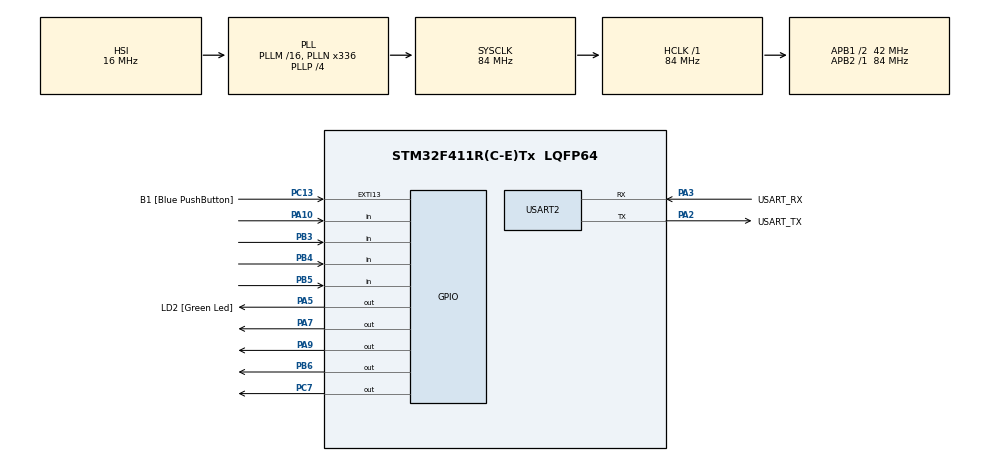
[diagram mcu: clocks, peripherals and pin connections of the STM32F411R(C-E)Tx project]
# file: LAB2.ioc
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Mcu.Family=STM32F4
Mcu.Name=STM32F411R(C-E)Tx
Mcu.Package=LQFP64
NVIC.PriorityGroup=NVIC_PRIORITYGROUP_0
PA10.GPIO_PuPd=GPIO_PULLUP
PA10.Signal=GPIO_Input
PA13.GPIO_Label=TMS
PA13.Mode=Serial_Wire
PA13.Signal=SYS_JTMS-SWDIO
PA14.GPIO_Label=TCK
PA14.Mode=Serial_Wire
PA14.Signal=SYS_JTCK-SWCLK
PA2.GPIO_Label=USART_TX
PA2.Mode=Asynchronous
PA2.Signal=USART2_TX
PA3.GPIO_Label=USART_RX
PA3.Mode=Asynchronous
PA3.Signal=USART2_RX
PA5.GPIO_Label=LD2 [Green Led]
PA5.Signal=GPIO_Output
PA7.GPIO_ModeDefaultOutputPP=GPIO_MODE_OUTPUT_OD
PA7.PinState=GPIO_PIN_SET
PA7.Signal=GPIO_Output
PA9.GPIO_ModeDefaultOutputPP=GPIO_MODE_OUTPUT_OD
PA9.PinState=GPIO_PIN_SET
PA9.Signal=GPIO_Output
PB3.GPIO_PuPd=GPIO_PULLUP
PB3.Signal=GPIO_Input
PB4.GPIO_PuPd=GPIO_PULLUP
PB4.Signal=GPIO_Input
PB5.GPIO_PuPd=GPIO_PULLUP
PB5.Signal=GPIO_Input
PB6.GPIO_ModeDefaultOutputPP=GPIO_MODE_OUTPUT_OD
PB6.PinState=GPIO_PIN_SET
PB6.Signal=GPIO_Output
PC13-ANTI_TAMP.GPIO_Label=B1 [Blue PushButton]
PC13-ANTI_TAMP.GPIO_ModeDefaultEXTI=GPIO_MODE_IT_FALLING
PC13-ANTI_TAMP.Signal=GPXTI13
PC14-OSC32_IN.Mode=LSE-External-Oscillator
PC14-OSC32_IN.Signal=RCC_OSC32_IN
PC15-OSC32_OUT.Mode=LSE-External-Oscillator
PC15-OSC32_OUT.Signal=RCC_OSC32_OUT
PC7.GPIO_ModeDefaultOutputPP=GPIO_MODE_OUTPUT_OD
PC7.PinState=GPIO_PIN_SET
PC7.Signal=GPIO_Output
PH0\ -\ OSC_IN.Mode=HSE-External-Clock-Source
PH0\ -\ OSC_IN.Signal=RCC_OSC_IN
PH1\ -\ OSC_OUT.Mode=HSE-External-Clock-Source
PH1\ -\ OSC_OUT.Signal=RCC_OSC_OUT
ProjectManager.HeapSize=0x200
ProjectManager.StackSize=0x400
ProjectManager.TargetToolchain=STM32CubeIDE
RCC.48MHZClocksFreq_Value=84000000
RCC.AHBFreq_Value=84000000
RCC.APB1CLKDivider=RCC_HCLK_DIV2
RCC.APB1Freq_Value=42000000
RCC.APB1TimFreq_Value=84000000
RCC.APB2Freq_Value=84000000
RCC.APB2TimFreq_Value=84000000
RCC.CortexFreq_Value=84000000
RCC.FLatency-AdvancedSettings=FLASH_LATENCY_2
RCC.HCLKFreq_Value=84000000
RCC.HSE_VALUE=8000000
RCC.HSI_VALUE=16000000
RCC.PLLN=336
RCC.PLLP=RCC_PLLP_DIV4
RCC.SYSCLKFreq_VALUE=84000000
RCC.SYSCLKSource=RCC_SYSCLKSOURCE_PLLCLK
RCC.VCOOutputFreq_Value=336000000
USART2.VirtualMode=VM_ASYNC
board=NUCLEO-F411RE

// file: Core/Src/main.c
/* USER CODE BEGIN Header */
/**
  ******************************************************************************
  * @file           : main.c
  * @brief          : Main program body
  ******************************************************************************
  * @attention
  *
  * <h2><center>&copy; Copyright (c) 2021 STMicroelectronics.
  * All rights reserved.</center></h2>
  *
  * This software component is licensed by ST under BSD 3-Clause license,
  * the "License"; You may not use this file except in compliance with the
  * License. You may obtain a copy of the License at:
  *                        opensource.org/licenses/BSD-3-Clause
  *
  ******************************************************************************
  */
/* USER CODE END Header */
#include "main.h"

UART_HandleTypeDef huart2;

/* USER CODE BEGIN PV */
// save state of button matrix
enum StateDisiplay{
	State_1 = 0,
	State_2,
	State_3,
	State_4,
	State_5,
	State_6,
	State_7,
	State_8,
	State_9,
	State_10,
	State_11,
	State_12,
	State_WrongNum
};

uint16_t ButtonMatrix = 0;
uint32_t ButtonMatrixTimer = 0; // Button timer
uint16_t ButtonDelayTime = 0;
uint16_t StateNow = 0;
uint16_t ButtonMatrixPushed[2] = {0};
/* USER CODE END PV */

void SystemClock_Config(void);
static void MX_GPIO_Init(void);
static void MX_USART2_UART_Init(void);
/* USER CODE BEGIN PFP */
void ButtonMatrixUpdate(); // scan and update button matrix
/* USER CODE END PFP */

int main(void)
{

  /* MCU Configuration--------------------------------------------------------*/

  /* Reset of all peripherals, Initializes the Flash interface and the Systick. */
  HAL_Init();

  /* Configure the system clock */
  SystemClock_Config();

  /* Initialize all configured peripherals */
  MX_GPIO_Init();
  MX_USART2_UART_Init();

  /* Infinite loop */
  /* USER CODE BEGIN WHILE */
  while (1) //62340500044
  {
    /* USER CODE END WHILE */

    /* USER CODE BEGIN 3 */
	  if(HAL_GetTick() - ButtonDelayTime >= 100){
		  ButtonDelayTime = HAL_GetTick();
		  ButtonMatrixPushed[0] = ButtonMatrix;
		  ButtonMatrixUpdate();
		  switch (StateNow) {
			case State_1:
				if(ButtonMatrixPushed[0] != 0 && ButtonMatrixPushed[1] == 0)
				{
					if(ButtonMatrix == 0b1000000) // 6
					{
						StateNow = State_2;
					}
					else {StateNow = State_WrongNum;}
				}
				break;
			case State_2:
				if(ButtonMatrixPushed[0] != 0 && ButtonMatrixPushed[1] == 0)
				{
					if(ButtonMatrix == 0b1000000000) // 2
					{
						StateNow = State_3;
					}
					else {StateNow = State_WrongNum;}
				}
				break;
			case State_3:
				if(ButtonMatrixPushed[0] != 0 && ButtonMatrixPushed[1] == 0)
				{
					if(ButtonMatrix == 0b10000000000) // 3
					{
						StateNow = State_4;
					}
					else {StateNow = State_WrongNum;}

				}
				break;
			case State_4:
				if(ButtonMatrixPushed[0] != 0 && ButtonMatrixPushed[1] == 0)
				{
					if(ButtonMatrix == 0b10000) // 4
					{
						StateNow = State_5;
					}
					else {StateNow = State_WrongNum;}

				}
				break;
			case State_5:
				if(ButtonMatrixPushed[0] != 0 && ButtonMatrixPushed[1] == 0)
				{
					if(ButtonMatrix == 0b1000000000000) // 0
					{
						StateNow = State_6;
					}
					else {StateNow = State_WrongNum;}

				}
				break;
			case State_6:
				if(ButtonMatrixPushed[0] != 0 && ButtonMatrixPushed[1] == 0)
				{
					if(ButtonMatrix == 0b100000) // 5
					{
						StateNow = State_7;
					}
					else {StateNow = State_WrongNum;}

				}
				break;
			case State_7:
				if(ButtonMatrixPushed[0] != 0 && ButtonMatrixPushed[1] == 0)
				{
					if(ButtonMatrix == 0b1000000000000) // 0
					{
						StateNow = State_8;
					}
					else {StateNow = State_WrongNum;}

				}
				break;
			case State_8:
				if(ButtonMatrixPushed[0] != 0 && ButtonMatrixPushed[1] == 0)
				{
					if(ButtonMatrix == 0b1000000000000) // 0
					{
						StateNow = State_9;
					}
					else {StateNow = State_WrongNum;}

				}
				break;
			case State_9:
				if(ButtonMatrixPushed[0] != 0 && ButtonMatrixPushed[1] == 0)
				{
					if(ButtonMatrix == 0b1000000000000) // 0
					{
						StateNow = State_10;
					}
					else {StateNow = State_WrongNum;}
				}
				break;
			case State_10:
				if(ButtonMatrixPushed[0] != 0 && ButtonMatrixPushed[1] == 0)
				{
					if(ButtonMatrix == 0b10000) // 4
					{
						StateNow = State_11;
					}
					else {StateNow = State_WrongNum;}

				}
				break;
			case State_11:
				if(ButtonMatrixPushed[0] != 0 && ButtonMatrixPushed[1] == 0)
				{
					if(ButtonMatrix == 0b10000) // 4
					{
						StateNow = State_12;
					}
					else {StateNow = State_WrongNum;}

				}
				break;
			case State_12:
				if(ButtonMatrixPushed[0] != 0 && ButtonMatrixPushed[1] == 0)
				{
					if(ButtonMatrix == 0b1000000000000000) // OK
					{
						HAL_GPIO_WritePin(GPIOA, GPIO_PIN_5, GPIO_PIN_SET);
					}
					else {StateNow = State_WrongNum;}

				}
				break;
			case State_WrongNum:
				HAL_GPIO_WritePin(GPIOA, GPIO_PIN_5, GPIO_PIN_RESET);
				if(ButtonMatrixPushed[0] != 0 && ButtonMatrixPushed[1] == 0)
				{
					if(ButtonMatrix == 0b1000) // CLear
					{
						HAL_GPIO_WritePin(GPIOA, GPIO_PIN_5, GPIO_PIN_RESET);
						StateNow = State_1;
					}
				}
				break;
			default:
				break;
		}
		  if(ButtonMatrix == 0b1000) // CLear
		  {
			HAL_GPIO_WritePin(GPIOA, GPIO_PIN_5, GPIO_PIN_RESET);
		  	StateNow = State_1;
		  }
		  ButtonMatrixPushed[1] = ButtonMatrixPushed[0];

	  }

  }
  /* USER CODE END 3 */
}

void SystemClock_Config(void)
{
  RCC_OscInitTypeDef RCC_OscInitStruct = {0};
  RCC_ClkInitTypeDef RCC_ClkInitStruct = {0};

  /** Configure the main internal regulator output voltage
  */
  __HAL_RCC_PWR_CLK_ENABLE();
  __HAL_PWR_VOLTAGESCALING_CONFIG(PWR_REGULATOR_VOLTAGE_SCALE1);
  /** Initializes the RCC Oscillators according to the specified parameters
  * in the RCC_OscInitTypeDef structure.
  */
  RCC_OscInitStruct.OscillatorType = RCC_OSCILLATORTYPE_HSI;
  RCC_OscInitStruct.HSIState = RCC_HSI_ON;
  RCC_OscInitStruct.HSICalibrationValue = RCC_HSICALIBRATION_DEFAULT;
  RCC_OscInitStruct.PLL.PLLState = RCC_PLL_ON;
  RCC_OscInitStruct.PLL.PLLSource = RCC_PLLSOURCE_HSI;
  RCC_OscInitStruct.PLL.PLLM = 16;
  RCC_OscInitStruct.PLL.PLLN = 336;
  RCC_OscInitStruct.PLL.PLLP = RCC_PLLP_DIV4;
  RCC_OscInitStruct.PLL.PLLQ = 4;
  if (HAL_RCC_OscConfig(&RCC_OscInitStruct) != HAL_OK)
  {
    Error_Handler();
  }
  /** Initializes the CPU, AHB and APB buses clocks
  */
  RCC_ClkInitStruct.ClockType = RCC_CLOCKTYPE_HCLK|RCC_CLOCKTYPE_SYSCLK
                              |RCC_CLOCKTYPE_PCLK1|RCC_CLOCKTYPE_PCLK2;
  RCC_ClkInitStruct.SYSCLKSource = RCC_SYSCLKSOURCE_PLLCLK;
  RCC_ClkInitStruct.AHBCLKDivider = RCC_SYSCLK_DIV1;
  RCC_ClkInitStruct.APB1CLKDivider = RCC_HCLK_DIV2;
  RCC_ClkInitStruct.APB2CLKDivider = RCC_HCLK_DIV1;

  if (HAL_RCC_ClockConfig(&RCC_ClkInitStruct, FLASH_LATENCY_2) != HAL_OK)
  {
    Error_Handler();
  }
}

static void MX_USART2_UART_Init(void)
{

  huart2.Instance = USART2;
  huart2.Init.BaudRate = 115200;
  huart2.Init.WordLength = UART_WORDLENGTH_8B;
  huart2.Init.StopBits = UART_STOPBITS_1;
  huart2.Init.Parity = UART_PARITY_NONE;
  huart2.Init.Mode = UART_MODE_TX_RX;
  huart2.Init.HwFlowCtl = UART_HWCONTROL_NONE;
  huart2.Init.OverSampling = UART_OVERSAMPLING_16;
  if (HAL_UART_Init(&huart2) != HAL_OK)
  {
    Error_Handler();
  }

}

static void MX_GPIO_Init(void)
{
  GPIO_InitTypeDef GPIO_InitStruct = {0};

  /* GPIO Ports Clock Enable */
  __HAL_RCC_GPIOC_CLK_ENABLE();
  __HAL_RCC_GPIOH_CLK_ENABLE();
  __HAL_RCC_GPIOA_CLK_ENABLE();
  __HAL_RCC_GPIOB_CLK_ENABLE();

  /*Configure GPIO pin Output Level */
  HAL_GPIO_WritePin(LD2_GPIO_Port, LD2_Pin, GPIO_PIN_RESET);

  /*Configure GPIO pin Output Level */
  HAL_GPIO_WritePin(GPIOA, GPIO_PIN_7|GPIO_PIN_9, GPIO_PIN_SET);

  /*Configure GPIO pin Output Level */
  HAL_GPIO_WritePin(GPIOC, GPIO_PIN_7, GPIO_PIN_SET);

  /*Configure GPIO pin Output Level */
  HAL_GPIO_WritePin(GPIOB, GPIO_PIN_6, GPIO_PIN_SET);

  /*Configure GPIO pin : B1_Pin */
  GPIO_InitStruct.Pin = B1_Pin;
  GPIO_InitStruct.Mode = GPIO_MODE_IT_FALLING;
  GPIO_InitStruct.Pull = GPIO_NOPULL;
  HAL_GPIO_Init(B1_GPIO_Port, &GPIO_InitStruct);

  /*Configure GPIO pin : LD2_Pin */
  GPIO_InitStruct.Pin = LD2_Pin;
  GPIO_InitStruct.Mode = GPIO_MODE_OUTPUT_PP;
  GPIO_InitStruct.Pull = GPIO_NOPULL;
  GPIO_InitStruct.Speed = GPIO_SPEED_FREQ_LOW;
  HAL_GPIO_Init(LD2_GPIO_Port, &GPIO_InitStruct);

  /*Configure GPIO pins : PA7 PA9 */
  GPIO_InitStruct.Pin = GPIO_PIN_7|GPIO_PIN_9;
  GPIO_InitStruct.Mode = GPIO_MODE_OUTPUT_OD;
  GPIO_InitStruct.Pull = GPIO_NOPULL;
  GPIO_InitStruct.Speed = GPIO_SPEED_FREQ_LOW;
  HAL_GPIO_Init(GPIOA, &GPIO_InitStruct);

  /*Configure GPIO pin : PC7 */
  GPIO_InitStruct.Pin = GPIO_PIN_7;
  GPIO_InitStruct.Mode = GPIO_MODE_OUTPUT_OD;
  GPIO_InitStruct.Pull = GPIO_NOPULL;
  GPIO_InitStruct.Speed = GPIO_SPEED_FREQ_LOW;
  HAL_GPIO_Init(GPIOC, &GPIO_InitStruct);

  /*Configure GPIO pin : PA10 */
  GPIO_InitStruct.Pin = GPIO_PIN_10;
  GPIO_InitStruct.Mode = GPIO_MODE_INPUT;
  GPIO_InitStruct.Pull = GPIO_PULLUP;
  HAL_GPIO_Init(GPIOA, &GPIO_InitStruct);

  /*Configure GPIO pins : PB3 PB4 PB5 */
  GPIO_InitStruct.Pin = GPIO_PIN_3|GPIO_PIN_4|GPIO_PIN_5;
  GPIO_InitStruct.Mode = GPIO_MODE_INPUT;
  GPIO_InitStruct.Pull = GPIO_PULLUP;
  HAL_GPIO_Init(GPIOB, &GPIO_InitStruct);

  /*Configure GPIO pin : PB6 */
  GPIO_InitStruct.Pin = GPIO_PIN_6;
  GPIO_InitStruct.Mode = GPIO_MODE_OUTPUT_OD;
  GPIO_InitStruct.Pull = GPIO_NOPULL;
  GPIO_InitStruct.Speed = GPIO_SPEED_FREQ_LOW;
  HAL_GPIO_Init(GPIOB, &GPIO_InitStruct);

}

/* USER CODE BEGIN 4 */
GPIO_TypeDef *ButtonMatrixPort[8] = {GPIOA, GPIOB, GPIOB, GPIOB, GPIOA, GPIOC, GPIOB, GPIOA};
uint16_t ButtonMatrixPin[8] = {GPIO_PIN_10, GPIO_PIN_3, GPIO_PIN_5, GPIO_PIN_4,
		GPIO_PIN_9, GPIO_PIN_7, GPIO_PIN_6, GPIO_PIN_7};

uint8_t ButtonMatrixLine = 0; // what R now
void ButtonMatrixUpdate()
{
	if(HAL_GetTick() - ButtonMatrixTimer >= 100)
	{
		ButtonMatrixTimer = HAL_GetTick();
		int i;
		for(i = 0;i<4; i++)
		{
			GPIO_PinState PinState = HAL_GPIO_ReadPin(ButtonMatrixPort[i],ButtonMatrixPin[i]);
			if(PinState == GPIO_PIN_RESET) // button pressed
			{
				ButtonMatrix |= (uint16_t)0x1 <<(i + ButtonMatrixLine * 4);
			}
			else
			{
				ButtonMatrix &= ~((uint16_t)1 <<(i + ButtonMatrixLine * 4));
			}
		}
		uint8_t NowOutputPin = ButtonMatrixLine + 4;
		HAL_GPIO_WritePin(ButtonMatrixPort[NowOutputPin], ButtonMatrixPin[NowOutputPin], GPIO_PIN_SET);

		ButtonMatrixLine = (ButtonMatrixLine + 1)%4;

		uint8_t NextOutputPin = ButtonMatrixLine + 4;
		HAL_GPIO_WritePin(ButtonMatrixPort[NextOutputPin], ButtonMatrixPin[NextOutputPin], GPIO_PIN_RESET);
	}
}
/* USER CODE END 4 */

void Error_Handler(void)
{
  __disable_irq();
  while (1)
  {
  }
}

/************************ (C) COPYRIGHT STMicroelectronics *****END OF FILE****/
